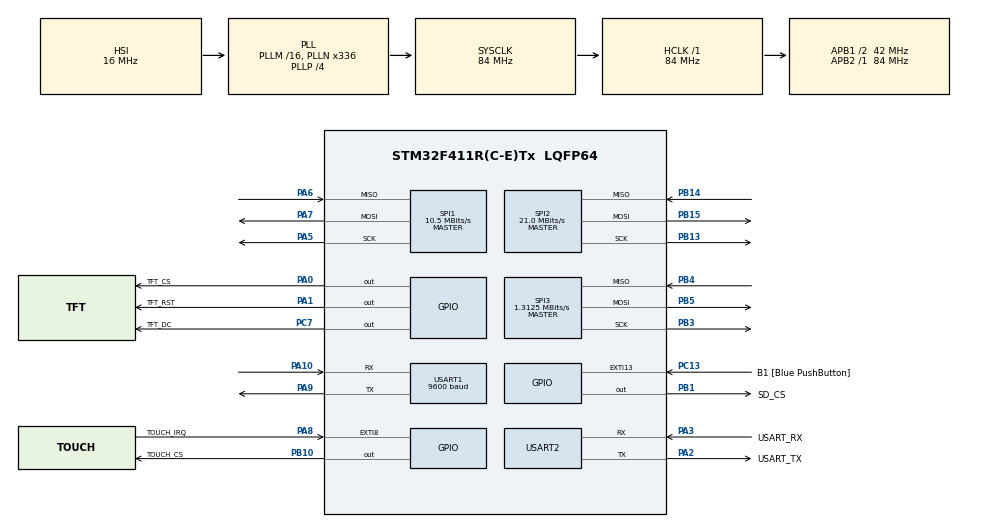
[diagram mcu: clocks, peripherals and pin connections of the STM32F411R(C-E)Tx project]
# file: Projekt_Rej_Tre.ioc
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Mcu.Family=STM32F4
PA6.Mode=Full_Duplex_Master
RCC.CortexFreq_Value=84000000
SPI3.Direction=SPI_DIRECTION_2LINES
SPI3.VirtualType=VM_MASTER
SPI1.VirtualType=VM_MASTER
SPI2.VirtualType=VM_MASTER
PA10.GPIO_PuPd=GPIO_NOPULL
USART1.BaudRate=9600
PA14.GPIO_Label=TCK
VP_RTC_VS_RTC_Activate.Mode=RTC_Enabled
PB13.Signal=SPI2_SCK
PB15.Signal=SPI2_MOSI
RCC.SYSCLKSource=RCC_SYSCLKSOURCE_PLLCLK
ProjectManager.StackSize=0x400
PH0\ -\ OSC_IN.Signal=RCC_OSC_IN
RCC.RCC_RTC_Clock_Source=RCC_RTCCLKSOURCE_LSE
SPI1.Direction=SPI_DIRECTION_2LINES
RCC.HCLKFreq_Value=84000000
RCC.APB2TimFreq_Value=84000000
PC7.Signal=GPIO_Output
SPI1.CalculateBaudRate=10.5 MBits/s
RCC.AHBFreq_Value=84000000
RCC.HSE_VALUE=8000000
PB3.Mode=Full_Duplex_Master
PC13-ANTI_TAMP.Signal=GPXTI13
PB4.Mode=Full_Duplex_Master
PC14-OSC32_IN.Mode=LSE-External-Oscillator
PA14.Mode=Serial_Wire
PB14.Mode=Full_Duplex_Master
PB1.GPIO_Label=SD_CS
PB5.Mode=Full_Duplex_Master
SPI2.CalculateBaudRate=21.0 MBits/s
PA8.Signal=GPXTI8
RCC.FLatency-AdvancedSettings=FLASH_LATENCY_2
Mcu.Package=LQFP64
PB1.Signal=GPIO_Output
PA6.Signal=SPI1_MISO
SPI2.Mode=SPI_MODE_MASTER
SPI3.Mode=SPI_MODE_MASTER
PA8.GPIO_ModeDefaultEXTI=GPIO_MODE_IT_FALLING
USART2.VirtualMode=VM_ASYNC
PA2.GPIO_Label=USART_TX
PA10.Signal=USART1_RX
VP_RTC_VS_RTC_Calendar.Mode=RTC_Calendar
RCC.APB1TimFreq_Value=84000000
SPI2.Direction=SPI_DIRECTION_2LINES
PB13.Mode=Full_Duplex_Master
NVIC.USART1_IRQn=true\:0\:0\:false\:false\:true\:true\:true
SPI1.BaudRatePrescaler=SPI_BAUDRATEPRESCALER_8
PB4.Signal=SPI3_MISO
PA3.Signal=USART2_RX
PA5.Mode=Full_Duplex_Master
PC15-OSC32_OUT.Mode=LSE-External-Oscillator
PA7.Mode=Full_Duplex_Master
PA10.Mode=Asynchronous
PC13-ANTI_TAMP.GPIO_Label=B1 [Blue PushButton]
PH1\ -\ OSC_OUT.Mode=HSE-External-Clock-Source
RCC.APB1CLKDivider=RCC_HCLK_DIV2
PC14-OSC32_IN.Signal=RCC_OSC32_IN
PA9.GPIO_PuPd=GPIO_NOPULL
PA0-WKUP.GPIO_Label=TFT_CS
PA0-WKUP.Signal=GPIO_Output
PA3.Mode=Asynchronous
PA13.Signal=SYS_JTMS-SWDIO
PA9.Mode=Asynchronous
PH0\ -\ OSC_IN.Mode=HSE-External-Clock-Source
PA8.GPIO_Label=TOUCH_IRQ
ProjectManager.TargetToolchain=STM32CubeIDE
PB10.GPIO_Label=TOUCH_CS
PA9.Signal=USART1_TX
PC15-OSC32_OUT.Signal=RCC_OSC32_OUT
PA1.Signal=GPIO_Output
VP_FATFS_VS_Generic.Mode=User_defined
PB10.Signal=GPIO_Output
PB14.Signal=SPI2_MISO
PA5.Signal=SPI1_SCK
PH1\ -\ OSC_OUT.Signal=RCC_OSC_OUT
board=NUCLEO-F411RE
RCC.VCOOutputFreq_Value=336000000
PB15.Mode=Full_Duplex_Master
RCC.APB2Freq_Value=84000000
SPI3.CalculateBaudRate=1.3125 MBits/s
SPI1.Mode=SPI_MODE_MASTER
SPI3.BaudRatePrescaler=SPI_BAUDRATEPRESCALER_32
PA1.GPIO_Label=TFT_RST
PA13.Mode=Serial_Wire
Mcu.Name=STM32F411R(C-E)Tx
PA2.Signal=USART2_TX
PA13.GPIO_Label=TMS
PC7.GPIO_Label=TFT_DC
RCC.48MHZClocksFreq_Value=84000000
PB3.Signal=SPI3_SCK
RCC.SYSCLKFreq_VALUE=84000000
PB5.Signal=SPI3_MOSI
USART1.VirtualMode=VM_ASYNC
PC13-ANTI_TAMP.GPIO_ModeDefaultEXTI=GPIO_MODE_IT_FALLING
NVIC.EXTI9_5_IRQn=true\:0\:0\:false\:true\:true\:1\:true\:true
PA14.Signal=SYS_JTCK-SWCLK
ProjectManager.HeapSize=0x200
RCC.HSI_VALUE=16000000
RCC.PLLP=RCC_PLLP_DIV4
NVIC.PriorityGroup=NVIC_PRIORITYGROUP_0
RCC.PLLN=336
PA2.Mode=Asynchronous
RCC.APB1Freq_Value=42000000
PA3.GPIO_Label=USART_RX
PA7.Signal=SPI1_MOSI

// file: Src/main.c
/* USER CODE BEGIN Header */
/**
  ******************************************************************************
  * @file           : main.c
  * @brief          : Main program body
  ******************************************************************************
  * @attention
  *
  * <h2><center>&copy; Copyright (c) 2020 STMicroelectronics.
  * All rights reserved.</center></h2>
  *
  * This software component is licensed by ST under BSD 3-Clause license,
  * the "License"; You may not use this file except in compliance with the
  * License. You may obtain a copy of the License at:
  *                        opensource.org/licenses/BSD-3-Clause
  *
  ******************************************************************************
  */
/*
 *      Authors: Damian Fokt
 *      		 Albert Zbiciak
 */
/* USER CODE END Header */
#include "main.h"
#include "fatfs.h"
#include "rtc.h"
#include "spi.h"
#include "usart.h"
#include "gpio.h"

/* USER CODE BEGIN Includes */
#include "gps_neo6.h"
#include "TFT_ILI9341.h"
#include "GFX_Color.h"
#include "fonts/fonts.h"
#include "GFX_EnhancedFonts.h"
#include "EnhancedFonts/arialBlack_20ptFontInfo.h"
#include "string.h"
#include "stdio.h"
#include "gui.h"
#include "SD.h"
#include "XPT2064.h"
/* USER CODE END Includes */

/* USER CODE BEGIN PV */

//FRESULT FatFsResult;
//FATFS SdFatFs;
//FIL SdCardFile;
//
//uint8_t bytes;
//char data[128];
//
//uint8_t Message[64];
//uint8_t MessageLength;

uint32_t Timer;
SD_CARD SdCard;

/* USER CODE END PV */

void SystemClock_Config(void);
static void MX_NVIC_Init(void);

int main(void)
{

  /* MCU Configuration--------------------------------------------------------*/

  /* Reset of all peripherals, Initializes the Flash interface and the Systick. */
  HAL_Init();

  /* Configure the system clock */
  SystemClock_Config();

  /* Initialize all configured peripherals */
  MX_GPIO_Init();
  MX_FATFS_Init();
  MX_SPI1_Init();
  MX_SPI2_Init();
  MX_SPI3_Init();
  MX_RTC_Init();
  MX_USART1_UART_Init();
  MX_USART2_UART_Init();

  /* Initialize interrupts */
  MX_NVIC_Init();
  /* USER CODE BEGIN 2 */

  ILI9341_Init(&hspi1);
  GFX_SetFont(font_8x5);
  EF_SetFont(&arialBlack_20ptFontInfo);
  XPT2046_Init(&hspi3, EXTI9_5_IRQn);
  NEO6_Init(&GpsState, &huart1);
  MountSD();

  Timer = HAL_GetTick();

  /* USER CODE END 2 */

  /* Infinite loop */
  /* USER CODE BEGIN WHILE */
  while (1)
  {

	 Gps();
	 XPT2046_Task();
	 Gui();

    /* USER CODE END WHILE */

  }
}

void SystemClock_Config(void)
{
  RCC_OscInitTypeDef RCC_OscInitStruct = {0};
  RCC_ClkInitTypeDef RCC_ClkInitStruct = {0};
  RCC_PeriphCLKInitTypeDef PeriphClkInitStruct = {0};

  /** Configure the main internal regulator output voltage
  */
  __HAL_RCC_PWR_CLK_ENABLE();
  __HAL_PWR_VOLTAGESCALING_CONFIG(PWR_REGULATOR_VOLTAGE_SCALE1);
  /** Initializes the RCC Oscillators according to the specified parameters
  * in the RCC_OscInitTypeDef structure.
  */
  RCC_OscInitStruct.OscillatorType = RCC_OSCILLATORTYPE_HSI|RCC_OSCILLATORTYPE_LSE;
  RCC_OscInitStruct.LSEState = RCC_LSE_ON;
  RCC_OscInitStruct.HSIState = RCC_HSI_ON;
  RCC_OscInitStruct.HSICalibrationValue = RCC_HSICALIBRATION_DEFAULT;
  RCC_OscInitStruct.PLL.PLLState = RCC_PLL_ON;
  RCC_OscInitStruct.PLL.PLLSource = RCC_PLLSOURCE_HSI;
  RCC_OscInitStruct.PLL.PLLM = 16;
  RCC_OscInitStruct.PLL.PLLN = 336;
  RCC_OscInitStruct.PLL.PLLP = RCC_PLLP_DIV4;
  RCC_OscInitStruct.PLL.PLLQ = 4;
  if (HAL_RCC_OscConfig(&RCC_OscInitStruct) != HAL_OK)
  {
    Error_Handler();
  }
  /** Initializes the CPU, AHB and APB buses clocks
  */
  RCC_ClkInitStruct.ClockType = RCC_CLOCKTYPE_HCLK|RCC_CLOCKTYPE_SYSCLK
                              |RCC_CLOCKTYPE_PCLK1|RCC_CLOCKTYPE_PCLK2;
  RCC_ClkInitStruct.SYSCLKSource = RCC_SYSCLKSOURCE_PLLCLK;
  RCC_ClkInitStruct.AHBCLKDivider = RCC_SYSCLK_DIV1;
  RCC_ClkInitStruct.APB1CLKDivider = RCC_HCLK_DIV2;
  RCC_ClkInitStruct.APB2CLKDivider = RCC_HCLK_DIV1;

  if (HAL_RCC_ClockConfig(&RCC_ClkInitStruct, FLASH_LATENCY_2) != HAL_OK)
  {
    Error_Handler();
  }
  PeriphClkInitStruct.PeriphClockSelection = RCC_PERIPHCLK_RTC;
  PeriphClkInitStruct.RTCClockSelection = RCC_RTCCLKSOURCE_LSE;
  if (HAL_RCCEx_PeriphCLKConfig(&PeriphClkInitStruct) != HAL_OK)
  {
    Error_Handler();
  }
}

/**
  * @brief NVIC Configuration.
  * @retval None
  */
static void MX_NVIC_Init(void)
{
  /* USART1_IRQn interrupt configuration */
  HAL_NVIC_SetPriority(USART1_IRQn, 0, 0);
  HAL_NVIC_EnableIRQ(USART1_IRQn);
  /* EXTI9_5_IRQn interrupt configuration */
  HAL_NVIC_SetPriority(EXTI9_5_IRQn, 0, 0);
  HAL_NVIC_EnableIRQ(EXTI9_5_IRQn);
}

/* USER CODE BEGIN 4 */
void HAL_GPIO_EXTI_Callback(uint16_t GPIO_Pin)
{
	if(GPIO_Pin == TOUCH_IRQ_Pin)
	{
		XPT2046_IRQ();
	}
}

void HAL_UART_RxCpltCallback(UART_HandleTypeDef *huart)
{
	if(huart == GpsState.neo6_huart)
	{
		NEO6_ReceiveUartChar(&GpsState);
	}
}
/* USER CODE END 4 */

void Error_Handler(void)
{
}

/************************ (C) COPYRIGHT STMicroelectronics *****END OF FILE****/
